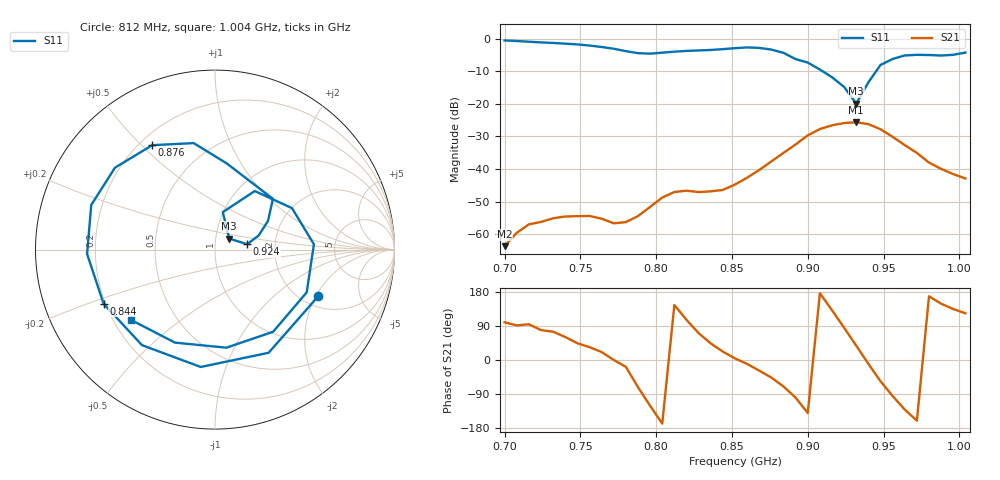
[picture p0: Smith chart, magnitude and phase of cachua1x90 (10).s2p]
# Hz S RI R 50
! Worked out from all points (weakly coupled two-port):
!   39 points, 700 MHz to 1.004 GHz, reference 50 ohm
!   highest |S21| = -25.65 dB at 932 MHz (marker M1); lowest = -63.7 dB at 700 MHz (marker M2)
!   lowest |S11| = -20.0 dB at 932 MHz (marker M3), VSWR 1.22, Z = 58.1 + j7.23 ohm
!   |S11| at or under -10 dB: 909.7 MHz to 945.1 MHz (35.38 MHz wide, 3.82 % of centre)
!   S12 and S22 are empty: the file has one direction only
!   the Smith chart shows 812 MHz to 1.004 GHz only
!   S11 on the Smith chart (normalised r, x): 812 MHz: 2.42, -2.09; 844 MHz: 0.19, -0.22; 876 MHz: 0.25, +0.54; 924 MHz: 1.43, +0.09; 1.004 GHz: 0.27, -0.34
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7e8  0.7587 0.5505  -0.000108 0.000644  0 0  0 0
7.24e8  0.8414 -0.2419  0.000297 0.00151  0 0  0 0
7.4e8  0.4581 -0.7005  0.000911 0.00162  0 0  0 0
7.56e8  -0.1893 -0.7602  0.00158 0.00106  0 0  0 0
7.72e8  -0.6681 -0.2069  0.00146 3.66e-06  0 0  0 0
7.8e8  -0.6049 0.2166  0.00145 -0.000475  0 0  0 0
7.88e8  -0.2661 0.5363  0.000594 -0.00179  0 0  0 0
7.96e8  0.2268 0.5422  -0.00134 -0.00224  0 0  0 0
8.04e8  0.5745 0.2018  -0.00355 -0.000767  0 0  0 0
8.12e8  0.5744 -0.2606  -0.00363 0.00254  0 0  0 0
8.28e8  -0.0798 -0.654  0.00144 0.00417  0 0  0 0
8.44e8  -0.6208 -0.301  0.00442 0.00178  0 0  0 0
8.52e8  -0.7126 -0.0242  0.00575 0.000418  0 0  0 0
8.76e8  -0.3495 0.5818  0.009 -0.00945  0 0  0 0
9e8  0.3228 0.2827  -0.025 -0.0211  0 0  0 0
9.08e8  0.2952 0.1597  -0.0409 0.00273  0 0  0 0
9.24e8  0.1788 0.0298  0.00423 0.0505  0 0  0 0
9.32e8  0.0795 0.0616  0.0413 0.0319  0 0  0 0
9.56e8  0.429 0.231  -0.00272 -0.031  0 0  0 0
9.72e8  0.5109 -0.2384  -0.0166 -0.00598  0 0  0 0
9.88e8  0.0635 -0.5466  -0.00856 0.00523  0 0  0 0
1.004e9  -0.4695 -0.391  -0.00391 0.00598  0 0  0 0
